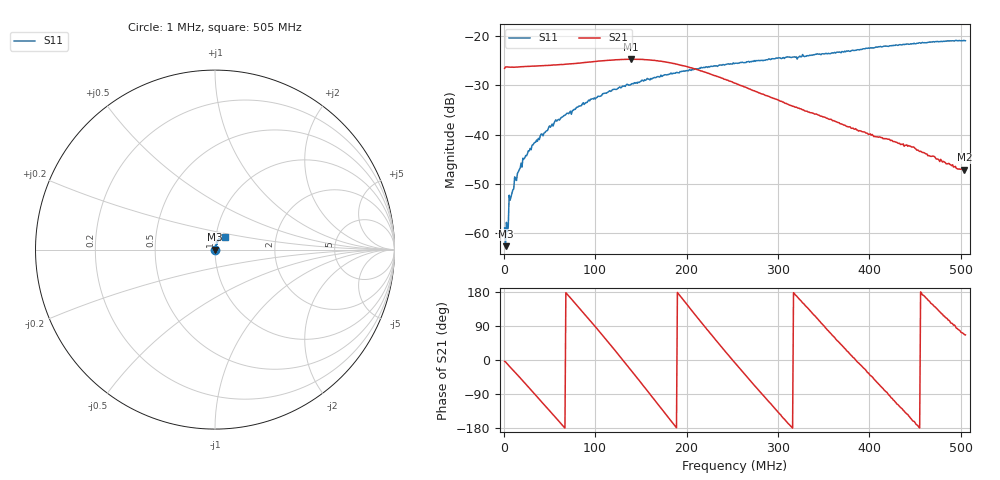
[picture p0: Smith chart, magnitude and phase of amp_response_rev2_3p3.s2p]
# HZ S RI R 50
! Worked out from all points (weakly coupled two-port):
!   505 points, 1 MHz to 505 MHz, reference 50 ohm
!   highest |S21| = -24.67 dB at 139 MHz (marker M1); lowest = -47.1 dB at 504 MHz (marker M2)
!   lowest |S11| = -62.6 dB at 2 MHz (marker M3), VSWR 1.00, Z = 49.9 + j0.0538 ohm
!   |S11| at or under -10 dB: start of sweep to end of sweep
!   S12 and S22 are empty: the file has one direction only
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1000000  -0.00113 -9.31e-05  0.047 -0.00314  0 0  0 0
2000000  -0.000505 0.000538  0.0485 -0.00419  0 0  0 0
3000000  -0.000198 0.00127  0.0483 -0.00661  0 0  0 0
8000000  0.000498 0.00229  0.0452 -0.0174  0 0  0 0
1.4e7  0.000109 0.00342  0.0391 -0.029  0 0  0 0
2.3e7  0.000623 0.00579  0.0243 -0.0428  0 0  0 0
3.3e7  0.00161 0.00802  0.00222 -0.0496  0 0  0 0
5.1e7  0.00306 0.0115  -0.0365 -0.0351  0 0  0 0
8.5e7  0.0055 0.0189  -0.0348 0.0408  0 0  0 0
1.09e8  0.00752 0.0251  0.026 0.05  0 0  0 0
1.39e8  0.0097 0.0308  0.0524 -0.0257  0 0  0 0
1.69e8  0.0109 0.0374  -0.026 -0.0497  0 0  0 0
1.89e8  0.0118 0.0412  -0.0521 -0.00111  0 0  0 0
2.12e8  0.0137 0.0446  -0.0166 0.0426  0 0  0 0
2.53e8  0.0168 0.0504  0.033 -0.00444  0 0  0 0
2.83e8  0.0201 0.0531  -0.000501 -0.0258  0 0  0 0
3.37e8  0.0284 0.0577  -0.00963 0.0136  0 0  0 0
4.21e8  0.044 0.0654  -0.000309 -0.00898  0 0  0 0
4.47e8  0.0483 0.0685  -0.00702 -0.00264  0 0  0 0
4.97e8  0.0529 0.0721  0.000712 0.00441  0 0  0 0
5.04e8  0.0532 0.073  0.00172 0.00406  0 0  0 0
5.05e8  0.0539 0.0719  0.00178 0.00406  0 0  0 0
